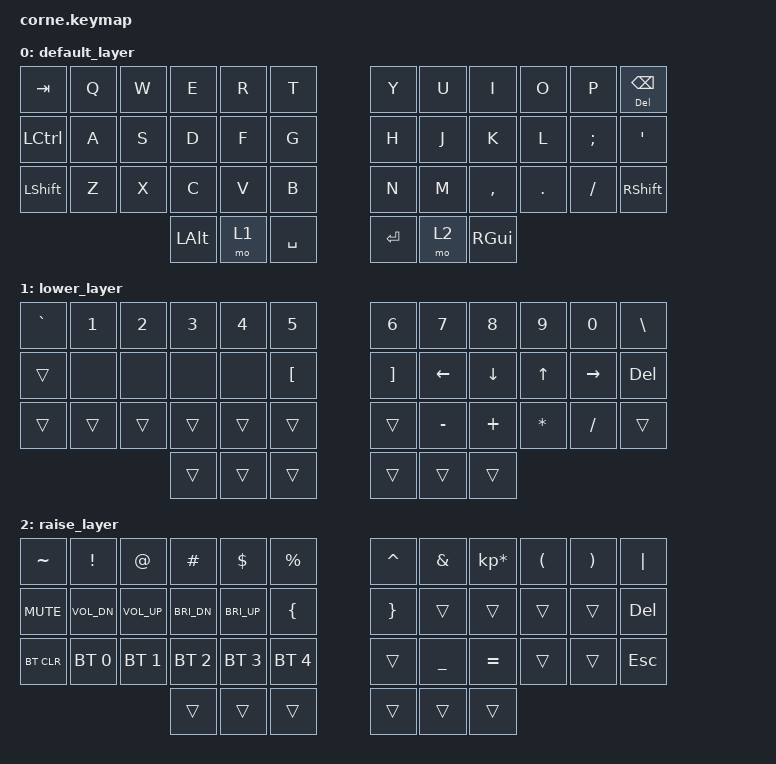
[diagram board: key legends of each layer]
/*
 * Copyright (c) 2020 The ZMK Contributors
 *
 * SPDX-License-Identifier: MIT
 */

#include <behaviors.dtsi>
#include <dt-bindings/zmk/keys.h>
#include <dt-bindings/zmk/bt.h>

/ {
        keymap {
                compatible = "zmk,keymap";

                default_layer {
// -----------------------------------------------------------------------------------------
// |  TAB |  Q  |  W  |  E  |  R  |  T  |   |  Y  |  U   |  I  |  O  |  P  | BKSP |
// | CTRL |  A  |  S  |  D  |  F  |  G  |   |  H  |  J   |  K  |  L  |  ;  |  '   |
// | SHFT |  Z  |  X  |  C  |  V  |  B  |   |  N  |  M   |  ,  |  .  |  /  | SHFT |
//                    | ALT | LWR | SPC |   | ENT | RSE  | GUI |
                        bindings = <
   &kp TAB   &kp Q &kp W &kp E &kp R &kp T   &kp Y &kp U  &kp I     &kp O   &kp P    &mt DEL BSPC
   &kp LCTRL &kp A &kp S &kp D &kp F &kp G   &kp H &kp J  &kp K     &kp L   &kp SEMI &kp SQT
   &kp LSHFT &kp Z &kp X &kp C &kp V &kp B   &kp N &kp M  &kp COMMA &kp DOT &kp FSLH &kp RSHFT
                  &kp LALT &mo 1 &kp SPACE   &kp RET &mo 2 &kp RGUI
                        >;
                };
                lower_layer {
// -----------------------------------------------------------------------------------------
// |   `  |  1  |  2  |  3  |  4  |  5  |   |  6  |  7  |  8  |  9  |  0  |   \  |
// |      |     |     |     |     |  [  |   |  ]  | LFT | DWN |  UP | RGT | DEL  |
// |      |     |     |     |     |     |   |     |  -  |  +  |  *  |  /  |      |
//                    |     |     |     |   |     |     |     |
                        bindings = <
   &kp GRAVE &kp N1   &kp N2   &kp N3   &kp N4   &kp N5      &kp N6   &kp N7    &kp N8   &kp N9    &kp N0    &kp BSLH
   &trans    &none    &none    &none    &none    &kp LBKT    &kp RBKT &kp LEFT  &kp DOWN &kp UP    &kp RIGHT &kp DEL
   &trans    &trans   &trans   &trans   &trans   &trans      &trans   &kp MINUS &kp PLUS &kp STAR  &kp FSLH  &trans
                               &trans   &trans   &trans      &trans   &trans   &trans
                        >;
                };
                raise_layer {
// -----------------------------------------------------------------------------------------
// |   ~  |  !  |  @  |  #  |  $  |  %  |   |  ^  |  &  |  *  |  (  |  )  | "|"  |
// | MUTE | VOL-| VOL+| BRI-| BRI+|  {  |   |  }  |     |     |     |     | DEL  |
// | BTCLR| BT1 | BT2 | BT3 | BT4 | BT5 |   |     |  _  |  =  |     |     | ESC  |
//                    |     |     |     |   |     |     |     |
                        bindings = <
   &kp TILDE  &kp EXCL      &kp AT       &kp HASH     &kp DLLR     &kp PRCNT    &kp CARET &kp AMPS  &kp KP_MULTIPLY &kp LPAR &kp RPAR &kp PIPE
   &kp C_MUTE &kp C_VOL_DN  &kp C_VOL_UP &kp C_BRI_DN &kp C_BRI_UP &kp LBRC     &kp RBRC  &trans    &trans          &trans   &trans   &kp DEL
   &bt BT_CLR &bt BT_SEL 0  &bt BT_SEL 1 &bt BT_SEL 2 &bt BT_SEL 3 &bt BT_SEL 4 &trans    &kp UNDER &kp EQUAL       &trans   &trans   &kp ESC
                    	                 &trans       &trans       &trans       &trans &trans    &trans
                        >;
                };
        };
};
